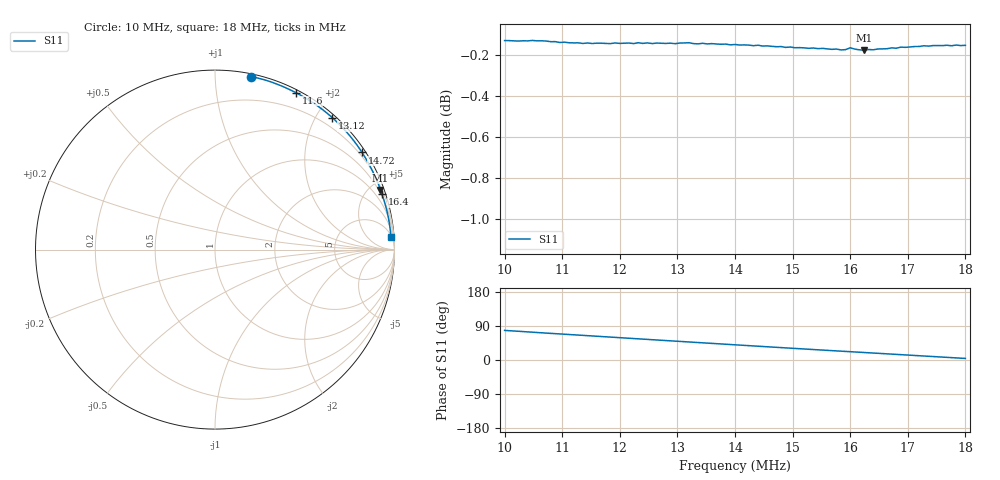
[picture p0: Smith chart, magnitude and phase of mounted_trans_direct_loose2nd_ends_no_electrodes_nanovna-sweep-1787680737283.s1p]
! NanoVNA Web complex sweep
! Processing: original sample grid, no browser smoothing
# Hz S RI R 50
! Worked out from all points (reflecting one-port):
!   101 points, 10 MHz to 18 MHz, reference 50 ohm
!   lowest |S11| = -0.2 dB at 16.24 MHz (marker M1), VSWR 97.95, Z = 17.2 + j286 ohm
!   phase of S11 starts at 78 deg and turns -74 deg over the sweep
!   S11 on the Smith chart (normalised r, x): 10 MHz: 0.02, +1.23; 11.6 MHz: 0.03, +1.64; 13.12 MHz: 0.05, +2.23; 14.72 MHz: 0.11, +3.32; 16.4 MHz: 0.39, +6.16; 18 MHz: 6, +26
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1e7  0.2026 0.9641
1.048e7  0.2816 0.9441
1.072e7  0.3204 0.9313
1.104e7  0.3684 0.9127
1.128e7  0.4041 0.897
1.16e7  0.4508 0.8743
1.2e7  0.508 0.8422
1.232e7  0.5521 0.8144
1.248e7  0.5734 0.7995
1.272e7  0.6045 0.7759
1.304e7  0.6444 0.7433
1.312e7  0.6542 0.7348
1.344e7  0.6918 0.6993
1.368e7  0.7183 0.6713
1.4e7  0.7519 0.6331
1.44e7  0.791 0.5829
1.472e7  0.8191 0.5412
1.504e7  0.8453 0.4982
1.552e7  0.8802 0.4327
1.6e7  0.9101 0.3664
1.624e7  0.9219 0.3317
1.64e7  0.9301 0.3088
1.672e7  0.9453 0.2625
1.704e7  0.9577 0.2154
1.728e7  0.9658 0.1792
1.752e7  0.9719 0.143
1.784e7  0.978 0.0949
1.8e7  0.9799 0.0708
